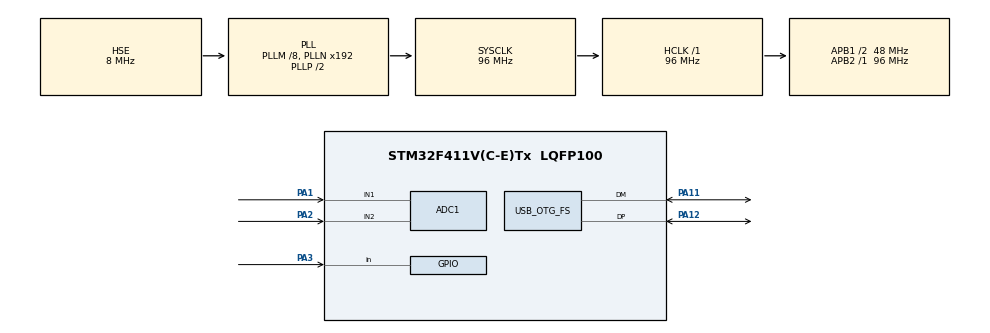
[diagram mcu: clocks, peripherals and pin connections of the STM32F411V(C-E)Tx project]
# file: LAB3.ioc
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ADC1.Channel-0\#ChannelRegularConversion=ADC_CHANNEL_1
ADC1.Channel-1\#ChannelRegularConversion=ADC_CHANNEL_1
ADC1.ClockPrescaler=ADC_CLOCK_SYNC_PCLK_DIV4
ADC1.NbrOfConversion=2
ADC1.NbrOfConversionFlag=1
ADC1.Rank-0\#ChannelRegularConversion=1
ADC1.Rank-1\#ChannelRegularConversion=2
ADC1.SamplingTime-0\#ChannelRegularConversion=ADC_SAMPLETIME_84CYCLES
ADC1.SamplingTime-1\#ChannelRegularConversion=ADC_SAMPLETIME_84CYCLES
ADC1.ScanConvMode=ENABLE
ADC1.master=1
Mcu.Family=STM32F4
Mcu.Name=STM32F411V(C-E)Tx
Mcu.Package=LQFP100
NVIC.OTG_FS_IRQn=true\:0\:0\:false\:false\:true\:false\:true\:true
NVIC.PriorityGroup=NVIC_PRIORITYGROUP_4
PA1.Signal=ADCx_IN1
PA11.Mode=Device_Only
PA11.Signal=USB_OTG_FS_DM
PA12.Mode=Device_Only
PA12.Signal=USB_OTG_FS_DP
PA13.Mode=Serial_Wire
PA13.Signal=SYS_JTMS-SWDIO
PA14.Mode=Serial_Wire
PA14.Signal=SYS_JTCK-SWCLK
PA2.Signal=ADCx_IN2
PA3.GPIO_PuPd=GPIO_PULLUP
PA3.Signal=GPIO_Input
PH0\ -\ OSC_IN.Mode=HSE-External-Oscillator
PH0\ -\ OSC_IN.Signal=RCC_OSC_IN
PH1\ -\ OSC_OUT.Mode=HSE-External-Oscillator
PH1\ -\ OSC_OUT.Signal=RCC_OSC_OUT
ProjectManager.HeapSize=0x200
ProjectManager.StackSize=0x400
ProjectManager.TargetToolchain=STM32CubeIDE
RCC.48MHZClocksFreq_Value=48000000
RCC.AHBFreq_Value=96000000
RCC.APB1CLKDivider=RCC_HCLK_DIV2
RCC.APB1Freq_Value=48000000
RCC.APB1TimFreq_Value=96000000
RCC.APB2Freq_Value=96000000
RCC.APB2TimFreq_Value=96000000
RCC.CortexFreq_Value=96000000
RCC.HCLKFreq_Value=96000000
RCC.HSE_VALUE=8000000
RCC.HSI_VALUE=16000000
RCC.LSE_VALUE=32768
RCC.PLLM=8
RCC.SYSCLKFreq_VALUE=96000000
RCC.SYSCLKSource=RCC_SYSCLKSOURCE_PLLCLK
RCC.VCOOutputFreq_Value=192000000
SH.ADCx_IN1.0=ADC1_IN1,IN1
SH.ADCx_IN2.0=ADC1_IN2,IN2
USB_DEVICE.CLASS_NAME_FS=CDC
USB_DEVICE.VirtualMode=Cdc
USB_DEVICE.VirtualModeFS=Cdc_FS
USB_OTG_FS.VirtualMode=Device_Only
VP_USB_DEVICE_VS_USB_DEVICE_CDC_FS.Mode=CDC_FS
board=custom

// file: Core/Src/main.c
/* USER CODE BEGIN Header */
/**
  ******************************************************************************
  * @file           : main.c
  * @brief          : Joystick tilt monitor over USB CDC
  ******************************************************************************
  * @attention
  *
  * Copyright (c) 2026 STMicroelectronics.
  * All rights reserved.
  *
  * This software is licensed under terms that can be found in the LICENSE file
  * in the root directory of this software component.
  * If no LICENSE file comes with this software, it is provided AS-IS.
  *
  ******************************************************************************
  */
/* USER CODE END Header */
#include "main.h"
#include "usb_device.h"

/* USER CODE BEGIN Includes */
#include <stdio.h>
#include <string.h>
#include "usbd_cdc_if.h"
/* USER CODE END Includes */

/* USER CODE BEGIN PD */
#define DEADZONE_PERCENT   25     /* мертва зона навколо центру, % */
#define PRINT_PERIOD_MS    100    /* період виводу в PuTTY, мс */
/* USER CODE END PD */

ADC_HandleTypeDef hadc1;

/* USER CODE BEGIN PV */
int center_x = 2048;
int center_y = 2048;
uint32_t last_print_ms = 0;
/* USER CODE END PV */

void SystemClock_Config(void);
static void MX_GPIO_Init(void);
static void MX_ADC1_Init(void);

/* USER CODE BEGIN 0 */
void usb_print(const char *s)
{
    uint32_t t = HAL_GetTick();
    while (CDC_Transmit_FS((uint8_t*)s, strlen(s)) == USBD_BUSY
           && (HAL_GetTick() - t) < 100) { }
}

/* Зчитує обидві осі джойстика (скан ADC1: ранг 1 = PA1, ранг 2 = PA2) */
void read_joystick(uint16_t *x, uint16_t *y)
{
    HAL_ADC_Start(&hadc1);
    HAL_ADC_PollForConversion(&hadc1, 10);
    *x = (uint16_t)HAL_ADC_GetValue(&hadc1);
    HAL_ADC_PollForConversion(&hadc1, 10);
    *y = (uint16_t)HAL_ADC_GetValue(&hadc1);
    HAL_ADC_Stop(&hadc1);
}

/* Переводить відхилення від центру у відсотки -100..+100 */
int to_percent(int value, int center)
{
    int p = ((value - center) * 100) / 2048;
    if (p > 100)  p = 100;
    if (p < -100) p = -100;
    return p;
}
/* USER CODE END 0 */

int main(void)
{

  /* MCU Configuration--------------------------------------------------------*/

  /* Reset of all peripherals, Initializes the Flash interface and the Systick. */
  HAL_Init();

  /* Configure the system clock */
  SystemClock_Config();

  /* Initialize all configured peripherals */
  MX_GPIO_Init();
  MX_ADC1_Init();
  MX_USB_DEVICE_Init();
  /* USER CODE BEGIN 2 */

  /* Калібрування центру: джойстик у спокої, усереднюємо 32 вимірювання */
  {
      uint32_t sum_x = 0, sum_y = 0;
      uint16_t x, y;
      HAL_Delay(200);
      for (int i = 0; i < 32; i++)
      {
          read_joystick(&x, &y);
          sum_x += x;
          sum_y += y;
          HAL_Delay(5);
      }
      center_x = (int)(sum_x / 32);
      center_y = (int)(sum_y / 32);
  }
  /* USER CODE END 2 */

  /* Infinite loop */
  while (1)
  {

    /* USER CODE BEGIN 3 */
    if ((HAL_GetTick() - last_print_ms) >= PRINT_PERIOD_MS)
    {
        last_print_ms = HAL_GetTick();

        uint16_t x, y;
        read_joystick(&x, &y);

        int px = to_percent((int)x, center_x);   /* + = вправо */
        int py = to_percent((int)y, center_y);   /* + = вгору (за потреби поміняй знак) */

        int h = (px >  DEADZONE_PERCENT) ?  1 : ((px < -DEADZONE_PERCENT) ? -1 : 0);
        int v = (py >  DEADZONE_PERCENT) ?  1 : ((py < -DEADZONE_PERCENT) ? -1 : 0);

        static const char *names[3][3] = {
            { "DOWN-LEFT", "DOWN",   "DOWN-RIGHT" },
            { "LEFT",      "CENTER", "RIGHT"      },
            { "UP-LEFT",   "UP",     "UP-RIGHT"   }
        };
        const char *dir = names[v + 1][h + 1];

        /* кнопка джойстика: з підтяжкою вгору натиснута = 0 */
        const char *btn = (HAL_GPIO_ReadPin(GPIOA, GPIO_PIN_3) == GPIO_PIN_RESET)
                          ? "PRESSED" : "released";

        char msg[120];
        snprintf(msg, sizeof(msg),
                 "\rX:%4u (%+4d%%)  Y:%4u (%+4d%%)  %-11s BTN:%-8s",
                 x, px, y, py, dir, btn);
        usb_print(msg);
    }
  }
  /* USER CODE END 3 */
}

void SystemClock_Config(void)
{
  RCC_OscInitTypeDef RCC_OscInitStruct = {0};
  RCC_ClkInitTypeDef RCC_ClkInitStruct = {0};

  /** Configure the main internal regulator output voltage
  */
  __HAL_RCC_PWR_CLK_ENABLE();
  __HAL_PWR_VOLTAGESCALING_CONFIG(PWR_REGULATOR_VOLTAGE_SCALE1);

  /** Initializes the RCC Oscillators according to the specified parameters
  * in the RCC_OscInitTypeDef structure.
  */
  RCC_OscInitStruct.OscillatorType = RCC_OSCILLATORTYPE_HSE;
  RCC_OscInitStruct.HSEState = RCC_HSE_ON;
  RCC_OscInitStruct.PLL.PLLState = RCC_PLL_ON;
  RCC_OscInitStruct.PLL.PLLSource = RCC_PLLSOURCE_HSE;
  RCC_OscInitStruct.PLL.PLLM = 8;
  RCC_OscInitStruct.PLL.PLLN = 192;
  RCC_OscInitStruct.PLL.PLLP = RCC_PLLP_DIV2;
  RCC_OscInitStruct.PLL.PLLQ = 4;
  if (HAL_RCC_OscConfig(&RCC_OscInitStruct) != HAL_OK)
  {
    Error_Handler();
  }

  /** Initializes the CPU, AHB and APB buses clocks
  */
  RCC_ClkInitStruct.ClockType = RCC_CLOCKTYPE_HCLK|RCC_CLOCKTYPE_SYSCLK
                              |RCC_CLOCKTYPE_PCLK1|RCC_CLOCKTYPE_PCLK2;
  RCC_ClkInitStruct.SYSCLKSource = RCC_SYSCLKSOURCE_PLLCLK;
  RCC_ClkInitStruct.AHBCLKDivider = RCC_SYSCLK_DIV1;
  RCC_ClkInitStruct.APB1CLKDivider = RCC_HCLK_DIV2;
  RCC_ClkInitStruct.APB2CLKDivider = RCC_HCLK_DIV1;

  if (HAL_RCC_ClockConfig(&RCC_ClkInitStruct, FLASH_LATENCY_3) != HAL_OK)
  {
    Error_Handler();
  }
}

static void MX_ADC1_Init(void)
{
  ADC_ChannelConfTypeDef sConfig = {0};

  /** Configure the global features of the ADC (Clock, Resolution, Data Alignment and number of conversion)
  */
  hadc1.Instance = ADC1;
  hadc1.Init.ClockPrescaler = ADC_CLOCK_SYNC_PCLK_DIV4;
  hadc1.Init.Resolution = ADC_RESOLUTION_12B;
  hadc1.Init.ScanConvMode = ENABLE;
  hadc1.Init.ContinuousConvMode = DISABLE;
  hadc1.Init.DiscontinuousConvMode = DISABLE;
  hadc1.Init.ExternalTrigConvEdge = ADC_EXTERNALTRIGCONVEDGE_NONE;
  hadc1.Init.ExternalTrigConv = ADC_SOFTWARE_START;
  hadc1.Init.DataAlign = ADC_DATAALIGN_RIGHT;
  hadc1.Init.NbrOfConversion = 2;
  hadc1.Init.DMAContinuousRequests = DISABLE;
  hadc1.Init.EOCSelection = ADC_EOC_SINGLE_CONV;
  if (HAL_ADC_Init(&hadc1) != HAL_OK)
  {
    Error_Handler();
  }

  /** Configure for the selected ADC regular channel its corresponding rank in the sequencer and its sample time.
  */
  sConfig.Channel = ADC_CHANNEL_1;
  sConfig.Rank = 1;
  sConfig.SamplingTime = ADC_SAMPLETIME_84CYCLES;
  if (HAL_ADC_ConfigChannel(&hadc1, &sConfig) != HAL_OK)
  {
    Error_Handler();
  }

  /** Configure for the selected ADC regular channel its corresponding rank in the sequencer and its sample time.
  */
  sConfig.Channel = ADC_CHANNEL_2;
  sConfig.Rank = 2;
  if (HAL_ADC_ConfigChannel(&hadc1, &sConfig) != HAL_OK)
  {
    Error_Handler();
  }
}

static void MX_GPIO_Init(void)
{
  GPIO_InitTypeDef GPIO_InitStruct = {0};

  /* GPIO Ports Clock Enable */
  __HAL_RCC_GPIOH_CLK_ENABLE();
  __HAL_RCC_GPIOA_CLK_ENABLE();

  /*Configure GPIO pin : PA3 (кнопка джойстика) */
  GPIO_InitStruct.Pin = GPIO_PIN_3;
  GPIO_InitStruct.Mode = GPIO_MODE_INPUT;
  GPIO_InitStruct.Pull = GPIO_PULLUP;
  HAL_GPIO_Init(GPIOA, &GPIO_InitStruct);

}

void Error_Handler(void)
{
  __disable_irq();
  while (1)
  {
  }
}
